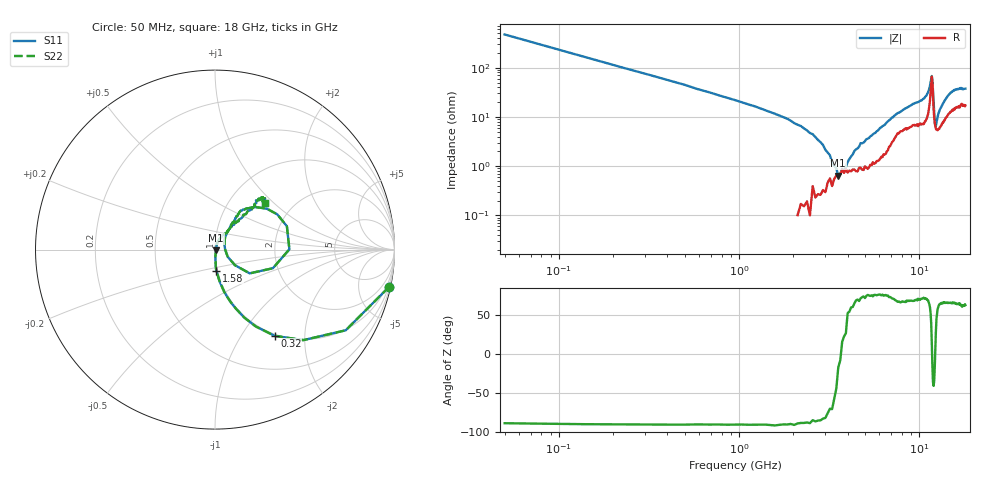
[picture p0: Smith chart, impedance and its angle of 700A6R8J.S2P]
!  American Technical Ceramics  Date:  3/13/98
!  One Norden Lane
!  Huntington Station,  NY.  11746-2102
!  Tel:  (516) 547-5700  Fax:  (516) 547-5748
!  Part Number  700A6R8J
!  Description: Porcelain, High Q, Low ESR
!  Application: Bypass, Coupling, Timing, Feedback
!  Tuning, Impedance Match, Blocking
# GHZ S DB R 50
! Freq  |S11|  S11 Ph  |S21|  S21 Ph  |S12|  S12 Ph  |S22|  S22 Ph
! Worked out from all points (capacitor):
!   201 points, 50 MHz to 18 GHz, reference 50 ohm
!   read as one part in series: C = 6.95 pF near 140 MHz
!   lowest |Z| = 638 mohm at 3.55 GHz (marker M1)
!   series resonance near 3.666 GHz, so ESL is about 270 pH
!   S11 on the Smith chart (normalised r, x): 50 MHz: 0.41, -9.36; 320 MHz: 0.97, -1.42; 1.58 GHz: 0.99, -0.23; 18 GHz: 1.45, +0.88
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0.05  -0.08 -12.2  -13.58 76.6  -13.58 76.6  -0.08 -12.2
0.14  -1.35 -31.7  -5.68 58.4  -5.68 58.4  -1.35 -31.7
0.32  -4.67 -55.3  -1.75 35.2  -1.75 35.2  -4.67 -55.3
0.68  -10.35 -73.5  -0.43 17.7  -0.43 17.7  -10.35 -73.5
1.58  -18.63 -86.3  -0.05 6.6  -0.05 6.6  -18.63 -86.3
2.47  -26.48 -87.7  -0.03 2.7  -0.03 2.7  -26.48 -87.7
3.1  -34.99 -77.1  -0.05 1.1  -0.05 1.1  -34.99 -77.1
3.55  -42.74 -28.5  -0.05 0.0  -0.05 0.0  -42.74 -28.5
3.91  -41.44 20.6  -0.08 -0.3  -0.08 -0.3  -41.44 20.6
4.72  -33.73 64.3  -0.09 -2.1  -0.09 -2.1  -33.73 64.3
6.06  -26.53 70.0  -0.14 -4.0  -0.14 -4.0  -26.53 70.0
7.23  -19.94 59.2  -0.25 -5.7  -0.25 -5.7  -19.94 59.2
9.03  -14.45 56.2  -0.43 -7.5  -0.43 -7.5  -14.45 56.2
11.18  -10.17 49.1  -0.84 -13.9  -0.84 -13.9  -10.17 49.1
11.54  -7.99 29.5  -2.23 -18.2  -2.23 -18.2  -7.99 29.5
11.72  -7.65 0.2  -4.30 -9.6  -4.30 -9.6  -7.65 0.2
11.9  -12.60 -34.4  -2.57 8.1  -2.57 8.1  -12.60 -34.4
12.08  -21.87 -29.1  -1.04 4.8  -1.04 4.8  -21.87 -29.1
12.17  -25.01 2.2  -0.79 2.7  -0.79 2.7  -25.01 2.2
12.97  -15.99 54.2  -0.39 -5.4  -0.39 -5.4  -15.99 54.2
15.04  -9.55 49.0  -0.86 -11.3  -0.86 -11.3  -9.55 49.0
18  -8.42 43.3  -1.07 -13.2  -1.07 -13.2  -8.42 43.3
